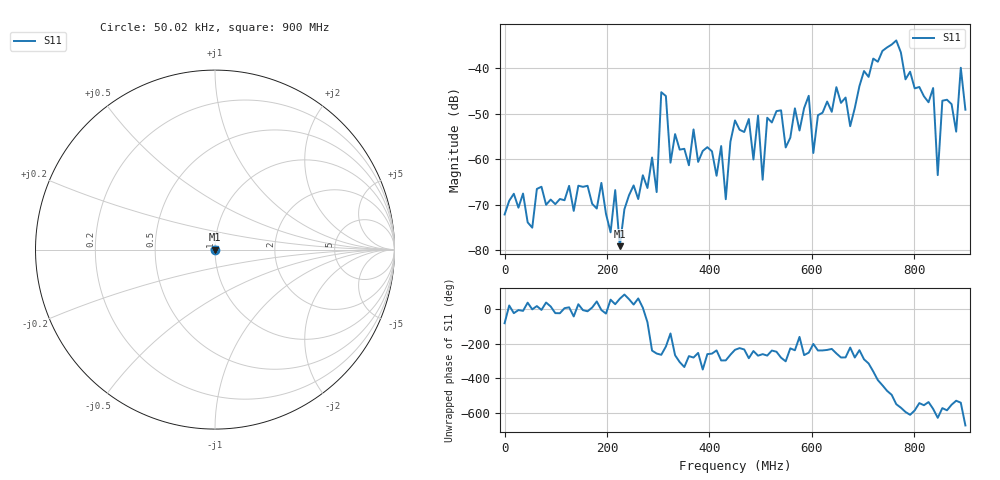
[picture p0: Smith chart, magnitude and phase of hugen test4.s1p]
! File created by NanoVNA (https://gen111.taobao.com/)
! Start 50016Hz  Stop 899999916Hz  Points 101
# HZ S MA R 50
!S - Parameter data, F S11
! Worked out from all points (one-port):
!   101 points, 50.02 kHz to 900 MHz, reference 50 ohm
!   lowest |S11| = -79.1 dB at 225 MHz (marker M1), VSWR 1.00, Z = 50 + j0.00959 ohm
!   |S11| at or under -10 dB: start of sweep to end of sweep
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50016  0.0002462 -81.5
1.170434e8  0.0003534 5.7
1.890394e8  0.0005482 -5.1
2.070384e8  0.0001567 54.9
2.160379e8  0.0004566 28.6
2.250374e8  0.0001104 60.3
2.340369e8  0.0002813 84.7
2.970334e8  0.0004344 102.8
3.060329e8  0.00545 95.4
3.240319e8  0.0009143 -140.9
3.420309e8  0.001273 53.1
4.230264e8  0.001394 62.6
4.320259e8  0.0003625 63.1
4.590244e8  0.002105 134.2
4.860229e8  0.0009907 117.3
4.950224e8  0.003019 90.3
5.040219e8  0.0005941 99.3
5.130214e8  0.002854 90.9
5.670184e8  0.003622 121.7
5.940169e8  0.004979 107.8
6.030164e8  0.00117 158.4
6.480139e8  0.00619 103.4
6.840119e8  0.00365 79.6
7.920059e8  0.009161 107.5
8.370034e8  0.006054 141.9
8.460029e8  0.0006676 90.1
8.550024e8  0.004394 146.4
8.999999e8  0.0035 45.9
